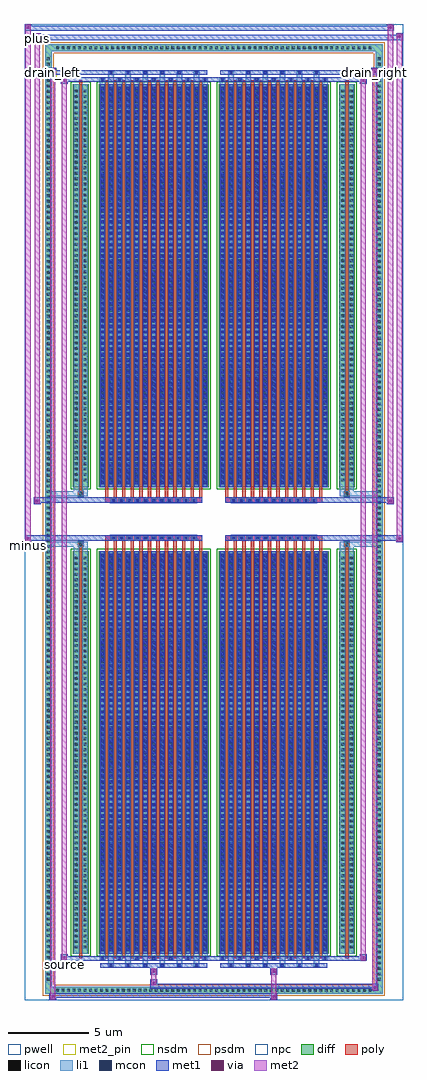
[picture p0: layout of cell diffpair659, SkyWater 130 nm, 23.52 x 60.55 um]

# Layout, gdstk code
import gdstk
lib = gdstk.Library(unit=1e-6, precision=5e-09)
def R(c, l, rs):  # rectangles x0, y0, x1, y1
    for r in rs: c.add(gdstk.rectangle(r[:2], r[2:], *l))
def A(c, l, x, y, w, h, nx, ny, dx, dy):  # array of equal rectangles
    R(c, l, [(x+i*dx, y+j*dy, x+i*dx+w, y+j*dy+h) for i in range(nx) for j in range(ny)])
def P(c, l, *ps):  # polygons
    for p in ps: c.add(gdstk.Polygon(p, *l))
pwell = (64, 44)
diff = (65, 20)
poly = (66, 20)
licon = (66, 44)
li1 = (67, 20)
mcon = (67, 44)
met1 = (68, 20)
via = (68, 44)
met2_pin = (69, 16)
met2 = (69, 20)
nsdm = (93, 44)
psdm = (94, 20)
npc = (95, 20)

diffpair659 = lib.new_cell('diffpair659')
R(diffpair659, pwell, [(-11.74,-29.84,11.74,30.71), (-9.06,-28.03,-0.01,-0.805), (0.01,-28.03,9.06,-0.805), (-9.06,0.805,-0.01,28.03), (0.01,0.805,9.06,28.03)])
A(diffpair659, diff, -9.895, -29.44, 0.41, 0.41, 58, 2, 0.34, 58.47)
A(diffpair659, diff, -10.47, -28.765, 0.41, 0.41, 1, 169, 0, 0.34)
A(diffpair659, diff, 10.06, -28.765, 0.41, 0.41, 1, 169, 0, 0.34)
R(diffpair659, diff, [(-9.895,-29.44,9.895,-29.03), (-10.47,-28.765,-10.06,28.765), (10.06,-28.765,10.47,28.765), (-8.75,-26.985,-7.77,-1.985), (-7.13,-26.985,-0.32,-1.985), (0.32,-26.985,7.13,-1.985), (7.77,-26.985,8.75,-1.985), (-8.75,1.985,-7.77,26.985), (-7.13,1.985,-0.32,26.985), (0.32,1.985,7.13,26.985), (7.77,1.985,8.75,26.985), (-9.895,29.03,9.895,29.44)])
P(diffpair659, diff, [(10.47,29.44),(-10.47,29.44),(-10.47,-29.03),(-10.06,-29.03),(-10.06,29.03),(10.06,29.03),(10.06,-29.03),(-10.06,-29.03),(-10.47,-29.03),(-10.47,-29.44),(10.47,-29.44)])
A(diffpair659, poly, -6.74, -27.235, 0.2, 25.5, 12, 2, 0.53, 28.97)
A(diffpair659, poly, 0.71, -27.235, 0.2, 25.5, 12, 2, 0.53, 28.97)
A(diffpair659, poly, -6.74, -1.735, 0.2, 0.4, 12, 2, 0.53, 3.07)
A(diffpair659, poly, 0.71, -1.735, 0.2, 0.4, 12, 2, 0.53, 3.07)
A(diffpair659, poly, -6.39, -1.335, 0.33, 0.33, 11, 2, 0.5, 2.34)
A(diffpair659, poly, 1.06, -1.335, 0.33, 0.33, 11, 2, 0.5, 2.34)
R(diffpair659, poly, [(-8.36,-27.235,-8.16,-1.735), (8.16,-27.235,8.36,-1.735), (-8.425,-1.735,-8.095,-1.405), (-8.425,-1.735,-8.095,-1.405), (8.095,-1.735,8.425,-1.405), (8.095,-1.735,8.425,-1.405), (-6.74,-1.335,-0.71,-1.005), (0.71,-1.335,6.74,-1.005), (-6.74,1.005,-0.71,1.335), (0.71,1.005,6.74,1.335), (-8.425,1.405,-8.095,1.735), (-8.425,1.405,-8.095,1.735), (8.095,1.405,8.425,1.735), (8.095,1.405,8.425,1.735), (-8.36,1.735,-8.16,27.235), (8.16,1.735,8.36,27.235)])
A(diffpair659, licon, -9.775, -29.32, 0.17, 0.17, 58, 2, 0.34, 58.47)
A(diffpair659, licon, -10.35, -28.645, 0.17, 0.17, 1, 169, 0, 0.34)
A(diffpair659, licon, 10.18, -28.645, 0.17, 0.17, 1, 169, 0, 0.34)
A(diffpair659, licon, -8.61, -26.64, 0.17, 0.17, 1, 72, 0, 0.34)
A(diffpair659, licon, -8.08, -26.64, 0.17, 0.17, 1, 72, 0, 0.34)
A(diffpair659, licon, -6.99, -26.64, 0.17, 0.17, 13, 72, 0.53, 0.34)
A(diffpair659, licon, 0.46, -26.64, 0.17, 0.17, 13, 72, 0.53, 0.34)
A(diffpair659, licon, 7.91, -26.64, 0.17, 0.17, 1, 72, 0, 0.34)
A(diffpair659, licon, 8.44, -26.64, 0.17, 0.17, 1, 72, 0, 0.34)
A(diffpair659, licon, -6.31, -1.255, 0.17, 0.17, 11, 2, 0.5, 2.34)
A(diffpair659, licon, 1.14, -1.255, 0.17, 0.17, 11, 2, 0.5, 2.34)
A(diffpair659, licon, -8.61, 2.33, 0.17, 0.17, 1, 72, 0, 0.34)
A(diffpair659, licon, -8.08, 2.33, 0.17, 0.17, 1, 72, 0, 0.34)
A(diffpair659, licon, -6.99, 2.33, 0.17, 0.17, 13, 72, 0.53, 0.34)
A(diffpair659, licon, 0.46, 2.33, 0.17, 0.17, 13, 72, 0.53, 0.34)
A(diffpair659, licon, 7.91, 2.33, 0.17, 0.17, 1, 72, 0, 0.34)
A(diffpair659, licon, 8.44, 2.33, 0.17, 0.17, 1, 72, 0, 0.34)
R(diffpair659, licon, [(-8.345,-1.655,-8.175,-1.485), (8.175,-1.655,8.345,-1.485), (-8.345,1.485,-8.175,1.655), (8.175,1.485,8.345,1.655)])
A(diffpair659, li1, -9.855, -29.4, 0.33, 0.33, 58, 2, 0.34, 58.47)
A(diffpair659, li1, -10.43, -28.725, 0.33, 0.33, 1, 169, 0, 0.34)
A(diffpair659, li1, 10.1, -28.725, 0.33, 0.33, 1, 169, 0, 0.34)
A(diffpair659, li1, -6.54, -27.79, 0.33, 0.805, 6, 2, 1.06, 54.775)
A(diffpair659, li1, -6.46, -27.79, 0.17, 0.17, 6, 2, 1.06, 55.41)
A(diffpair659, li1, 0.91, -27.79, 0.33, 0.805, 6, 2, 1.06, 54.775)
A(diffpair659, li1, 0.99, -27.79, 0.17, 0.17, 6, 2, 1.06, 55.41)
A(diffpair659, li1, -7.07, -27.36, 0.33, 0.375, 7, 2, 1.06, 54.345)
A(diffpair659, li1, -6.99, -27.36, 0.17, 0.17, 7, 2, 1.06, 54.55)
A(diffpair659, li1, 0.38, -27.36, 0.33, 0.375, 7, 2, 1.06, 54.345)
A(diffpair659, li1, 0.46, -27.36, 0.17, 0.17, 7, 2, 1.06, 54.55)
A(diffpair659, li1, -7.07, -26.985, 0.33, 25, 13, 2, 0.53, 28.97)
A(diffpair659, li1, 0.38, -26.985, 0.33, 25, 13, 2, 0.53, 28.97)
A(diffpair659, li1, -6.99, -26.81, 0.17, 0.17, 13, 69, 0.53, 0.36)
A(diffpair659, li1, -6.99, -26.81, 0.17, 24.65, 13, 2, 0.53, 28.97)
A(diffpair659, li1, 0.46, -26.81, 0.17, 0.17, 13, 69, 0.53, 0.36)
A(diffpair659, li1, 0.46, -26.81, 0.17, 24.65, 13, 2, 0.53, 28.97)
A(diffpair659, li1, -8.69, -26.72, 0.33, 0.33, 1, 72, 0, 0.34)
A(diffpair659, li1, -8.16, -26.72, 0.33, 0.33, 1, 72, 0, 0.34)
A(diffpair659, li1, -7.07, -26.72, 0.33, 0.33, 13, 72, 0.53, 0.34)
A(diffpair659, li1, 0.38, -26.72, 0.33, 0.33, 13, 72, 0.53, 0.34)
A(diffpair659, li1, 7.83, -26.72, 0.33, 0.33, 1, 72, 0, 0.34)
A(diffpair659, li1, 8.36, -26.72, 0.33, 0.33, 1, 72, 0, 0.34)
A(diffpair659, li1, -6.39, -1.335, 0.33, 0.33, 11, 2, 0.5, 2.34)
A(diffpair659, li1, 1.06, -1.335, 0.33, 0.33, 11, 2, 0.5, 2.34)
A(diffpair659, li1, -6.99, 2.16, 0.17, 0.17, 13, 69, 0.53, 0.36)
A(diffpair659, li1, 0.46, 2.16, 0.17, 0.17, 13, 69, 0.53, 0.36)
A(diffpair659, li1, -8.69, 2.25, 0.33, 0.33, 1, 72, 0, 0.34)
A(diffpair659, li1, -8.16, 2.25, 0.33, 0.33, 1, 72, 0, 0.34)
A(diffpair659, li1, -7.07, 2.25, 0.33, 0.33, 13, 72, 0.53, 0.34)
A(diffpair659, li1, 0.38, 2.25, 0.33, 0.33, 13, 72, 0.53, 0.34)
A(diffpair659, li1, 7.83, 2.25, 0.33, 0.33, 1, 72, 0, 0.34)
A(diffpair659, li1, 8.36, 2.25, 0.33, 0.33, 1, 72, 0, 0.34)
R(diffpair659, li1, [(-10.47,-29.44,-10.06,-29.03), (-10.47,-29.44,-10.06,-29.03), (-10.06,-29.44,10.06,-29.03), (10.06,-29.44,10.47,-29.03), (10.06,-29.44,10.47,-29.03), (-10.47,-29.03,-10.06,29.03), (10.06,-29.03,10.47,29.03), (-8.69,-26.985,-8.36,-1.985), (-8.16,-26.985,-7.83,-1.985), (7.83,-26.985,8.16,-1.985), (8.36,-26.985,8.69,-1.985), (-8.69,-1.985,-8.36,-1.405), (-8.16,-1.985,-7.83,-1.405), (7.83,-1.985,8.16,-1.405), (8.36,-1.985,8.69,-1.405), (-10.47,-1.735,-8.425,-1.405), (-8.69,-1.735,-8.425,-1.405), (-8.425,-1.735,-8.095,-1.405), (-8.095,-1.735,-7.83,-1.405), (7.83,-1.735,8.095,-1.405), (8.095,-1.735,8.425,-1.405), (8.095,-1.735,10.47,-1.405), (8.425,-1.735,8.69,-1.405), (-10.47,1.405,-8.425,1.735), (-8.69,1.405,-8.425,1.735), (-8.69,1.405,-8.36,1.985), (-8.425,1.405,-8.095,1.735), (-8.16,1.405,-7.83,1.985), (-8.095,1.405,-7.83,1.735), (7.83,1.405,8.095,1.735), (7.83,1.405,8.16,1.985), (8.095,1.405,8.425,1.735), (8.095,1.405,10.47,1.735), (8.36,1.405,8.69,1.985), (8.425,1.405,8.69,1.735), (-8.69,1.985,-8.36,26.985), (-8.16,1.985,-7.83,26.985), (7.83,1.985,8.16,26.985), (8.36,1.985,8.69,26.985), (-10.47,29.03,-10.06,29.44), (-10.47,29.03,-10.06,29.44), (-10.06,29.03,10.06,29.44), (10.06,29.03,10.47,29.44), (10.06,29.03,10.47,29.44)])
A(diffpair659, mcon, -6.46, -27.79, 0.17, 0.17, 6, 2, 1.06, 55.41)
A(diffpair659, mcon, 0.99, -27.79, 0.17, 0.17, 6, 2, 1.06, 55.41)
A(diffpair659, mcon, -6.99, -27.36, 0.17, 0.17, 7, 2, 1.06, 54.55)
A(diffpair659, mcon, 0.46, -27.36, 0.17, 0.17, 7, 2, 1.06, 54.55)
A(diffpair659, mcon, -6.99, -26.81, 0.17, 0.17, 13, 69, 0.53, 0.36)
A(diffpair659, mcon, 0.46, -26.81, 0.17, 0.17, 13, 69, 0.53, 0.36)
A(diffpair659, mcon, -6.31, -1.255, 0.17, 0.17, 11, 2, 0.5, 2.34)
A(diffpair659, mcon, 1.14, -1.255, 0.17, 0.17, 11, 2, 0.5, 2.34)
A(diffpair659, mcon, -6.99, 2.16, 0.17, 0.17, 13, 69, 0.53, 0.36)
A(diffpair659, mcon, 0.46, 2.16, 0.17, 0.17, 13, 69, 0.53, 0.36)
A(diffpair659, met1, -6.52, -27.85, 0.29, 0.29, 6, 2, 1.06, 55.41)
A(diffpair659, met1, 0.93, -27.85, 0.29, 0.29, 6, 2, 1.06, 55.41)
A(diffpair659, met1, -7.05, -27.42, 0.29, 0.29, 7, 2, 1.06, 54.55)
A(diffpair659, met1, 0.4, -27.42, 0.29, 0.29, 7, 2, 1.06, 54.55)
A(diffpair659, met1, -7.05, -26.985, 0.29, 25, 13, 2, 0.53, 28.97)
A(diffpair659, met1, 0.4, -26.985, 0.29, 25, 13, 2, 0.53, 28.97)
A(diffpair659, met1, -7.05, -26.87, 0.29, 0.29, 13, 69, 0.53, 0.36)
A(diffpair659, met1, 0.4, -26.87, 0.29, 0.29, 13, 69, 0.53, 0.36)
A(diffpair659, met1, -6.37, -1.315, 0.29, 0.29, 11, 2, 0.5, 2.34)
A(diffpair659, met1, 1.08, -1.315, 0.29, 0.29, 11, 2, 0.5, 2.34)
A(diffpair659, met1, -7.05, 2.1, 0.29, 0.29, 13, 69, 0.53, 0.36)
A(diffpair659, met1, 0.4, 2.1, 0.29, 0.29, 13, 69, 0.53, 0.36)
R(diffpair659, met1, [(-10.2,-29.84,-9.77,-29.41), (3.51,-29.84,3.94,-29.41), (-10.2,-29.7,3.94,-29.41), (9.77,-29.27,10.2,-28.84), (-3.94,-29.13,10.2,-28.84), (-3.94,-28.99,-3.51,-28.56), (-3.94,-28.28,-3.51,-27.85), (3.51,-28.28,3.94,-27.85), (-7.05,-27.85,-0.4,-27.56), (0.4,-27.85,7.05,-27.56), (-9.49,-27.42,-9.06,-26.99), (-9.49,-27.42,-7.05,-27.13), (-7.05,-27.42,-0.4,-27.13), (-0.4,-27.42,0.4,-27.13), (0.4,-27.42,7.05,-27.13), (7.05,-27.42,9.49,-27.13), (9.06,-27.42,9.49,-26.99), (-11.74,-1.435,-11.31,-1.005), (11.31,-1.435,11.74,-1.005), (-11.74,-1.335,-0.71,-1.005), (-6.74,-1.335,-0.71,-1.005), (0.71,-1.335,6.74,-1.005), (0.71,-1.335,11.74,-1.005), (-11.17,0.905,-10.74,1.335), (10.74,0.905,11.17,1.335), (-11.17,1.005,-6.74,1.335), (-6.74,1.005,-0.71,1.335), (0.71,1.005,6.74,1.335), (6.74,1.005,11.17,1.335), (-9.49,26.99,-9.06,27.42), (9.06,26.99,9.49,27.42), (-9.49,27.13,-7.05,27.42), (-7.05,27.13,-0.4,27.42), (-0.4,27.13,0.4,27.42), (0.4,27.13,7.05,27.42), (7.05,27.13,9.49,27.42), (-10.2,27.56,-9.77,27.99), (-10.2,27.56,-7.05,27.85), (-7.05,27.56,-0.4,27.85), (0.4,27.56,7.05,27.85), (7.05,27.56,10.2,27.85), (9.77,27.56,10.2,27.99), (-11.17,29.71,-10.74,30.14), (-11.17,29.71,-9.06,30.04), (-9.06,29.71,9.06,30.04), (9.06,29.71,11.74,30.04), (11.31,29.71,11.74,30.14), (-11.74,30.28,-11.31,30.71), (-11.74,30.28,-9.06,30.61), (-9.06,30.28,9.06,30.61), (9.06,30.28,11.17,30.61), (10.74,30.28,11.17,30.71)])
R(diffpair659, via, [(-10.06,-29.7,-9.91,-29.55), (3.65,-29.7,3.8,-29.55), (9.91,-29.13,10.06,-28.98), (-3.8,-28.85,-3.65,-28.7), (-3.8,-28.14,-3.65,-27.99), (3.65,-28.14,3.8,-27.99), (-9.35,-27.28,-9.2,-27.13), (9.2,-27.28,9.35,-27.13), (-11.6,-1.295,-11.45,-1.145), (11.45,-1.295,11.6,-1.145), (-11.03,1.045,-10.88,1.195), (10.88,1.045,11.03,1.195), (-9.35,27.13,-9.2,27.28), (9.2,27.13,9.35,27.28), (-10.06,27.7,-9.91,27.85), (9.91,27.7,10.06,27.85), (-11.03,29.85,-10.88,30), (11.45,29.85,11.6,30), (-11.6,30.42,-11.45,30.57), (10.88,30.42,11.03,30.57)])
R(diffpair659, met2_pin, [(-9.525,-27.87,-9.025,-27.37), (-11.775,-1.885,-11.275,-1.385), (-10.235,27.44,-9.735,27.94), (9.735,27.44,10.235,27.94), (-11.205,29.59,-10.705,30.09)])
R(diffpair659, met2, [(-10.15,-29.79,-9.82,-29.46), (-10.15,-29.79,-9.82,27.94), (3.56,-29.79,3.89,-29.46), (3.56,-29.46,3.89,-28.23), (9.82,-29.22,10.15,-28.89), (9.82,-29.22,10.15,27.94), (-3.89,-28.94,-3.56,-28.61), (-3.89,-28.61,-3.56,-28.23), (-3.89,-28.23,-3.56,-27.9), (3.56,-28.23,3.89,-27.9), (-9.44,-27.37,-9.11,-27.04), (-9.44,-27.37,-9.11,27.37), (9.11,-27.37,9.44,-27.04), (9.11,-27.37,9.44,27.37), (-11.69,-1.385,-11.36,-1.055), (-11.69,-1.385,-11.36,30.66), (11.36,-1.385,11.69,-1.055), (11.36,-1.385,11.69,30.09), (-11.12,0.955,-10.79,1.285), (-11.12,0.955,-10.79,30.09), (10.79,0.955,11.12,1.285), (10.79,0.955,11.12,30.66), (-9.44,27.04,-9.11,27.37), (9.11,27.04,9.44,27.37), (-10.15,27.61,-9.82,27.94), (9.82,27.61,10.15,27.94), (-11.12,29.76,-10.79,30.09), (11.36,29.76,11.69,30.09), (-11.69,30.33,-11.36,30.66), (10.79,30.33,11.12,30.66)])
P(diffpair659, met2, [(11.69,-1.385),(11.69,-1.385),(11.69,-1.055),(11.69,-1.055)],
  [(11.69,29.76),(11.69,29.76),(11.69,30.09),(11.69,30.09)],
  [(-11.36,-1.385),(-11.36,-1.385),(-11.36,-1.055),(-11.36,-1.055)],
  [(-11.36,30.33),(-11.36,30.33),(-11.36,30.66),(-11.36,30.66)],
  [(11.12,0.955),(11.12,0.955),(11.12,1.285),(11.12,1.285)],
  [(11.12,30.33),(11.12,30.33),(11.12,30.66),(11.12,30.66)],
  [(-10.79,0.955),(-10.79,0.955),(-10.79,1.285),(-10.79,1.285)],
  [(-10.79,29.76),(-10.79,29.76),(-10.79,30.09),(-10.79,30.09)],
  [(-9.82,-29.79),(-9.82,-29.79),(-9.82,-29.46),(-9.82,-29.46)],
  [(-9.82,27.61),(-9.82,27.61),(-9.82,27.94),(-9.82,27.94)],
  [(10.15,-29.22),(10.15,-29.22),(10.15,-28.89),(10.15,-28.89)],
  [(10.15,27.61),(10.15,27.61),(10.15,27.94),(10.15,27.94)],
  [(-9.11,-27.37),(-9.11,-27.37),(-9.11,-27.04),(-9.11,-27.04)],
  [(-9.11,27.04),(-9.11,27.04),(-9.11,27.37),(-9.11,27.37)],
  [(9.44,-27.37),(9.44,-27.37),(9.44,-27.04),(9.44,-27.04)],
  [(9.44,27.04),(9.44,27.04),(9.44,27.37),(9.44,27.37)])
R(diffpair659, nsdm, [(-8.88,-27.115,-7.64,-1.855), (-7.26,-27.115,-0.19,-1.855), (0.19,-27.115,7.26,-1.855), (7.64,-27.115,8.88,-1.855), (-8.88,1.855,-7.64,27.115), (-7.26,1.855,-0.19,27.115), (0.19,1.855,7.26,27.115), (7.64,1.855,8.88,27.115)])
P(diffpair659, psdm, [(10.6,29.57),(-10.6,29.57),(-10.6,-28.9),(-9.93,-28.9),(-9.93,28.9),(9.93,28.9),(9.93,-28.9),(-9.93,-28.9),(-10.6,-28.9),(-10.6,-29.57),(10.6,-29.57)])
A(diffpair659, npc, -6.41, -1.355, 0.37, 0.37, 11, 2, 0.5, 2.34)
A(diffpair659, npc, 1.04, -1.355, 0.37, 0.37, 11, 2, 0.5, 2.34)
R(diffpair659, npc, [(-8.445,-1.755,-8.075,-1.385), (8.075,-1.755,8.445,-1.385), (-6.41,-1.355,-5.54,-0.985), (-6.41,-1.355,-5.54,-0.985), (-5.91,-1.355,-5.04,-0.985), (-5.91,-1.355,-5.04,-0.985), (-5.41,-1.355,-4.54,-0.985), (-5.41,-1.355,-4.54,-0.985), (-4.91,-1.355,-4.04,-0.985), (-4.91,-1.355,-4.04,-0.985), (-4.41,-1.355,-3.54,-0.985), (-4.41,-1.355,-3.54,-0.985), (-3.91,-1.355,-3.04,-0.985), (-3.91,-1.355,-3.04,-0.985), (-3.41,-1.355,-2.54,-0.985), (-3.41,-1.355,-2.54,-0.985), (-2.91,-1.355,-2.04,-0.985), (-2.91,-1.355,-2.04,-0.985), (-2.41,-1.355,-1.54,-0.985), (-2.41,-1.355,-1.54,-0.985), (-1.91,-1.355,-1.04,-0.985), (-1.91,-1.355,-1.04,-0.985), (1.04,-1.355,1.91,-0.985), (1.04,-1.355,1.91,-0.985), (1.54,-1.355,2.41,-0.985), (1.54,-1.355,2.41,-0.985), (2.04,-1.355,2.91,-0.985), (2.04,-1.355,2.91,-0.985), (2.54,-1.355,3.41,-0.985), (2.54,-1.355,3.41,-0.985), (3.04,-1.355,3.91,-0.985), (3.04,-1.355,3.91,-0.985), (3.54,-1.355,4.41,-0.985), (3.54,-1.355,4.41,-0.985), (4.04,-1.355,4.91,-0.985), (4.04,-1.355,4.91,-0.985), (4.54,-1.355,5.41,-0.985), (4.54,-1.355,5.41,-0.985), (5.04,-1.355,5.91,-0.985), (5.04,-1.355,5.91,-0.985), (5.54,-1.355,6.41,-0.985), (5.54,-1.355,6.41,-0.985), (-6.41,0.985,-5.54,1.355), (-6.41,0.985,-5.54,1.355), (-5.91,0.985,-5.04,1.355), (-5.91,0.985,-5.04,1.355), (-5.41,0.985,-4.54,1.355), (-5.41,0.985,-4.54,1.355), (-4.91,0.985,-4.04,1.355), (-4.91,0.985,-4.04,1.355), (-4.41,0.985,-3.54,1.355), (-4.41,0.985,-3.54,1.355), (-3.91,0.985,-3.04,1.355), (-3.91,0.985,-3.04,1.355), (-3.41,0.985,-2.54,1.355), (-3.41,0.985,-2.54,1.355), (-2.91,0.985,-2.04,1.355), (-2.91,0.985,-2.04,1.355), (-2.41,0.985,-1.54,1.355), (-2.41,0.985,-1.54,1.355), (-1.91,0.985,-1.04,1.355), (-1.91,0.985,-1.04,1.355), (1.04,0.985,1.91,1.355), (1.04,0.985,1.91,1.355), (1.54,0.985,2.41,1.355), (1.54,0.985,2.41,1.355), (2.04,0.985,2.91,1.355), (2.04,0.985,2.91,1.355), (2.54,0.985,3.41,1.355), (2.54,0.985,3.41,1.355), (3.04,0.985,3.91,1.355), (3.04,0.985,3.91,1.355), (3.54,0.985,4.41,1.355), (3.54,0.985,4.41,1.355), (4.04,0.985,4.91,1.355), (4.04,0.985,4.91,1.355), (4.54,0.985,5.41,1.355), (4.54,0.985,5.41,1.355), (5.04,0.985,5.91,1.355), (5.04,0.985,5.91,1.355), (5.54,0.985,6.41,1.355), (5.54,0.985,6.41,1.355), (-8.445,1.385,-8.075,1.755), (8.075,1.385,8.445,1.755)])
diffpair659.add(gdstk.Label('minus', (-11.525,-1.635), layer=69, texttype=5))
diffpair659.add(gdstk.Label('drain_right', (9.985,27.69), layer=69, texttype=5))
diffpair659.add(gdstk.Label('drain_left', (-9.985,27.69), layer=69, texttype=5))
diffpair659.add(gdstk.Label('source', (-9.275,-27.62), layer=69, texttype=5))
diffpair659.add(gdstk.Label('plus', (-10.955,29.84), layer=69, texttype=5))

lib.write_gds('diffpair659.gds')
